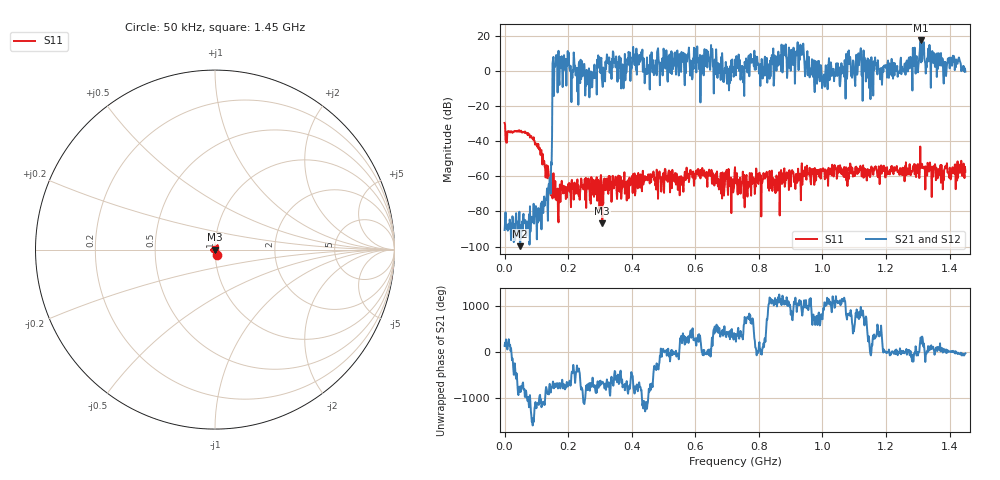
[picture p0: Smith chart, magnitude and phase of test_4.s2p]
! Created with skrf 1.11.0 (http://scikit-rf.org).
# Hz S RI R 50.0
!freq ReS11 ImS11 ReS21 ImS21 ReS12 ImS12 ReS22 ImS22
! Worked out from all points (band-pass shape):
!   1001 points, 50 kHz to 1.45 GHz, reference 50 ohm
!   highest |S21| = 17.33 dB at 1.309 GHz (marker M1); lowest = -99.7 dB at 49.35 MHz (marker M2)
!   |S21| within 3 dB of the highest: 649.5623 MHz to 649.7187 MHz (156.3 kHz wide, 0.0241 % of centre); 1.307435 GHz to 1.309703 GHz (2.268 MHz wide, 0.173 % of centre) (the widest 2 of 11)
!   lowest |S11| = -86.7 dB at 307.4 MHz (marker M3), VSWR 1.00, Z = 50 + j0.0017 ohm
!   |S11| at or under -10 dB: start of sweep to end of sweep
!   |S22| runs from - to - dB; largest |S21 - S12| = 0
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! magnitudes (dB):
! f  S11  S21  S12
! 50 kHz  -29.6  -90.5  -90.5
! 49.35 MHz  -34.6  -99.7  -99.7
! 108.8 MHz  -44.8  -81.6  -81.6
! 137.8 MHz  -56.9  -66.1  -66.1
! 142.1 MHz  -61.2  -60.7  -60.7
! 158.1 MHz  -71.8  2.2  2.2
! 242.2 MHz  -61.9  2.0  2.0
! 261 MHz  -62.0  -4.3  -4.3
! 307.4 MHz  -86.7  -6.2  -6.2
! 484.3 MHz  -58.6  6.9  6.9
! 619.2 MHz  -58.1  5.4  5.4
! 646.7 MHz  -59.8  0.6  0.6
! 725 MHz  -54.8  -2.3  -2.3
! 829.4 MHz  -66.8  2.1  2.1
! 933.8 MHz  -58.2  11.8  11.8
! 967.2 MHz  -57.4  6.7  6.7
! 1.098 GHz  -59.7  5.6  5.6
! 1.114 GHz  -57.5  10.0  10.0
! 1.153 GHz  -57.5  -3.9  -3.9
! 1.209 GHz  -58.1  -3.9  -3.9
! 1.309 GHz  -54.9  17.3  17.3
! 1.45 GHz  -57.3  -0.4  -0.4
